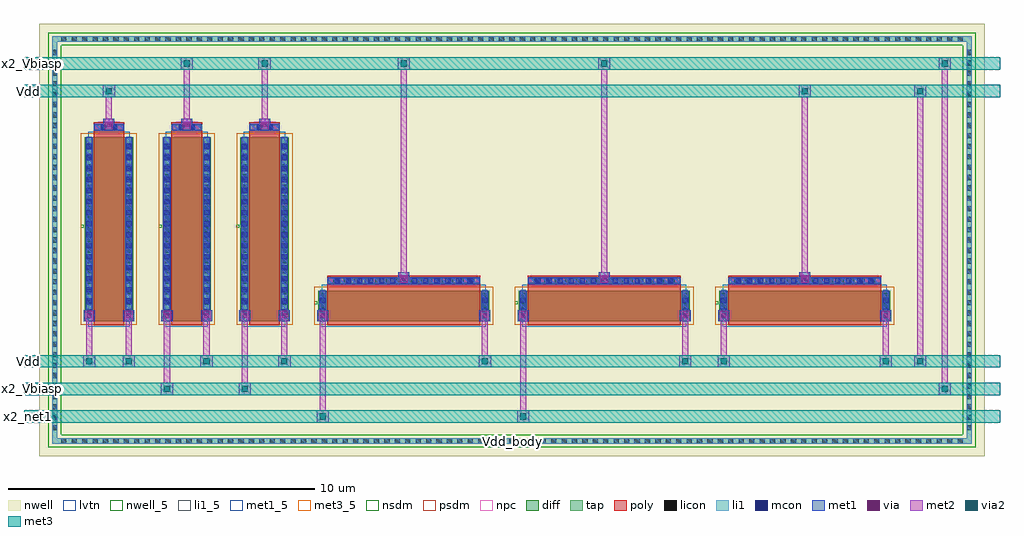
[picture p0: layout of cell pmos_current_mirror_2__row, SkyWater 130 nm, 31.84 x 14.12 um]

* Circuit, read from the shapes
.subckt pmos_current_mirror_2__row Vdd Vdd_body x2_Vbiasp x2_net1
XM1 Vdd Vdd Vdd Vdd_body sky130_fd_pr__pfet_01v8_lvt w=6 l=1
XM2 Vdd x2_Vbiasp x2_Vbiasp Vdd_body sky130_fd_pr__pfet_01v8_lvt w=6 l=1 m=2
XM3 Vdd x2_Vbiasp x2_net1 Vdd_body sky130_fd_pr__pfet_01v8_lvt w=1 l=5 m=2
XM4 Vdd Vdd Vdd Vdd_body sky130_fd_pr__pfet_01v8_lvt w=1 l=5
.ends

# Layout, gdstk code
import gdstk
lib = gdstk.Library(unit=1e-6, precision=1e-09)
def R(c, l, rs):  # rectangles x0, y0, x1, y1
    for r in rs: c.add(gdstk.rectangle(r[:2], r[2:], *l))
def A(c, l, x, y, w, h, nx, ny, dx, dy):  # array of equal rectangles
    R(c, l, [(x+i*dx, y+j*dy, x+i*dx+w, y+j*dy+h) for i in range(nx) for j in range(ny)])
nwell_5 = (64, 5)
nwell = (64, 20)
diff = (65, 20)
tap = (65, 44)
poly = (66, 20)
licon = (66, 44)
li1_5 = (67, 5)
li1 = (67, 20)
mcon = (67, 44)
met1_5 = (68, 5)
met1 = (68, 20)
via = (68, 44)
met2 = (69, 20)
via2 = (69, 44)
met3_5 = (70, 5)
met3 = (70, 20)
nsdm = (93, 44)
psdm = (94, 20)
npc = (95, 20)
lvtn = (125, 44)

sky130_fd_pr__pfet_01v8_ = lib.new_cell('sky130_fd_pr__pfet_01v8_lvt_G794LM')
R(sky130_fd_pr__pfet_01v8_, nwell, [(-2.97,-0.99,2.97,0.82)])
R(sky130_fd_pr__pfet_01v8_, diff, [(-2.79,-0.68,2.79,0.32)])
R(sky130_fd_pr__pfet_01v8_, poly, [(-2.5,-0.81,2.5,0.805)])
A(sky130_fd_pr__pfet_01v8_, licon, -2.73, -0.605, 0.17, 0.17, 1, 3, 0, 0.34)
A(sky130_fd_pr__pfet_01v8_, licon, 2.56, -0.605, 0.17, 0.17, 1, 3, 0, 0.34)
A(sky130_fd_pr__pfet_01v8_, licon, -2.295, 0.555, 0.17, 0.17, 14, 1, 0.34, 0)
R(sky130_fd_pr__pfet_01v8_, li1, [(-2.73,-0.7,-2.56,0.34), (2.56,-0.7,2.73,0.34), (-2.5,0.555,2.5,0.725)])
A(sky130_fd_pr__pfet_01v8_, mcon, -2.245, 0.555, 0.17, 0.17, 13, 1, 0.36, 0)
R(sky130_fd_pr__pfet_01v8_, mcon, [(-2.73,-0.445,-2.56,-0.275), (2.56,-0.445,2.73,-0.275), (-2.73,-0.085,-2.56,0.085), (2.56,-0.085,2.73,0.085)])
R(sky130_fd_pr__pfet_01v8_, met1, [(-2.76,-0.68,-2.53,0.32), (2.53,-0.68,2.76,0.32), (-2.48,0.525,2.48,0.755)])
R(sky130_fd_pr__pfet_01v8_, psdm, [(-2.915,-0.805,2.915,0.445)])
R(sky130_fd_pr__pfet_01v8_, npc, [(-2.395,0.455,2.395,0.825)])
R(sky130_fd_pr__pfet_01v8_, lvtn, [(-2.68,-0.86,2.68,0.5)])
sky130_fd_pr__pfet_01v8_.add(gdstk.Label('D', (-2.645,-0.18), layer=67, texttype=5))
sky130_fd_pr__pfet_01v8_.add(gdstk.Label('S', (2.645,-0.18), layer=67, texttype=5))
sky130_fd_pr__pfet_01v8_.add(gdstk.Label('G', (0,0.64), layer=67, texttype=5))

pfet_01v8_lvt_w1_l5_m2__ = lib.new_cell('pfet_01v8_lvt_W1_L5_m2__nf1_gtop_sdfull_ng')
R(pfet_01v8_lvt_w1_l5_m2__, nwell_5, [(0.05,0.855,0.15,0.955)])
R(pfet_01v8_lvt_w1_l5_m2__, nwell, [(0.05,0.855,0.15,0.955)])
R(pfet_01v8_lvt_w1_l5_m2__, met1_5, [(0.21,0.81,0.44,1.01), (5.5,0.81,5.73,1.01), (0.49,1.515,5.45,1.745)])
R(pfet_01v8_lvt_w1_l5_m2__, met1, [(0.21,0.81,0.44,1.01), (5.5,0.81,5.73,1.01), (0.49,1.515,5.45,1.745)])
pfet_01v8_lvt_w1_l5_m2__.add(gdstk.Reference(sky130_fd_pr__pfet_01v8_, (2.97,0.99)))
pfet_01v8_lvt_w1_l5_m2__.add(gdstk.Label('D', (0.325,0.91), layer=68, texttype=5))
pfet_01v8_lvt_w1_l5_m2__.add(gdstk.Label('S', (5.615,0.91), layer=68, texttype=5))
pfet_01v8_lvt_w1_l5_m2__.add(gdstk.Label('G', (2.97,1.63), layer=68, texttype=5))
pfet_01v8_lvt_w1_l5_m2__.add(gdstk.Label('B', (0.1,0.905), layer=64, texttype=5))

c_sky130_fd_pr__pfet_01v8_ = lib.new_cell('sky130_fd_pr__pfet_01v8_lvt_KRZAMB')
R(c_sky130_fd_pr__pfet_01v8_, nwell, [(-0.97,-3.49,0.97,3.32)])
R(c_sky130_fd_pr__pfet_01v8_, diff, [(-0.79,-3.18,0.79,2.82)])
R(c_sky130_fd_pr__pfet_01v8_, poly, [(-0.5,-3.31,0.5,3.305)])
A(c_sky130_fd_pr__pfet_01v8_, licon, -0.73, -2.985, 0.17, 0.17, 1, 17, 0, 0.34)
A(c_sky130_fd_pr__pfet_01v8_, licon, 0.56, -2.985, 0.17, 0.17, 1, 17, 0, 0.34)
R(c_sky130_fd_pr__pfet_01v8_, licon, [(-0.255,3.055,-0.085,3.225), (0.085,3.055,0.255,3.225)])
R(c_sky130_fd_pr__pfet_01v8_, li1, [(-0.73,-3.2,-0.56,2.84), (0.56,-3.2,0.73,2.84), (-0.5,3.055,0.5,3.225)])
A(c_sky130_fd_pr__pfet_01v8_, mcon, -0.73, -2.965, 0.17, 0.17, 1, 16, 0, 0.36)
A(c_sky130_fd_pr__pfet_01v8_, mcon, 0.56, -2.965, 0.17, 0.17, 1, 16, 0, 0.36)
R(c_sky130_fd_pr__pfet_01v8_, mcon, [(-0.265,3.055,-0.095,3.225), (0.095,3.055,0.265,3.225)])
R(c_sky130_fd_pr__pfet_01v8_, met1, [(-0.76,-3.18,-0.53,2.82), (0.53,-3.18,0.76,2.82), (-0.48,3.025,0.48,3.255)])
R(c_sky130_fd_pr__pfet_01v8_, psdm, [(-0.915,-3.305,0.915,2.945)])
R(c_sky130_fd_pr__pfet_01v8_, npc, [(-0.355,2.955,0.355,3.325)])
R(c_sky130_fd_pr__pfet_01v8_, lvtn, [(-0.68,-3.36,0.68,3)])
c_sky130_fd_pr__pfet_01v8_.add(gdstk.Label('D', (-0.645,-0.18), layer=67, texttype=5))
c_sky130_fd_pr__pfet_01v8_.add(gdstk.Label('S', (0.645,-0.18), layer=67, texttype=5))
c_sky130_fd_pr__pfet_01v8_.add(gdstk.Label('G', (0,3.14), layer=67, texttype=5))

pfet_01v8_lvt_w6_l1_m2__ = lib.new_cell('pfet_01v8_lvt_W6_L1_m2__nf1_gtop_sdfull_ng')
R(pfet_01v8_lvt_w6_l1_m2__, nwell_5, [(0.05,3.355,0.15,3.455)])
R(pfet_01v8_lvt_w6_l1_m2__, nwell, [(0.05,3.355,0.15,3.455)])
R(pfet_01v8_lvt_w6_l1_m2__, met1_5, [(0.21,3.31,0.44,3.51), (1.5,3.31,1.73,3.51), (0.49,6.515,1.45,6.745)])
R(pfet_01v8_lvt_w6_l1_m2__, met1, [(0.21,3.31,0.44,3.51), (1.5,3.31,1.73,3.51), (0.49,6.515,1.45,6.745)])
pfet_01v8_lvt_w6_l1_m2__.add(gdstk.Reference(c_sky130_fd_pr__pfet_01v8_, (0.97,3.49)))
pfet_01v8_lvt_w6_l1_m2__.add(gdstk.Label('D', (0.325,3.41), layer=68, texttype=5))
pfet_01v8_lvt_w6_l1_m2__.add(gdstk.Label('S', (1.615,3.41), layer=68, texttype=5))
pfet_01v8_lvt_w6_l1_m2__.add(gdstk.Label('G', (0.97,6.63), layer=68, texttype=5))
pfet_01v8_lvt_w6_l1_m2__.add(gdstk.Label('B', (0.1,3.405), layer=64, texttype=5))

pmos_current_mirror_2__r = lib.new_cell('pmos_current_mirror_2__row')
R(pmos_current_mirror_2__r, nwell, [(-1.3,-4.1,29.54,10.015)])
R(pmos_current_mirror_2__r, tap, [(-0.885,-3.685,29.125,-3.515), (-0.885,-3.515,-0.715,9.43), (28.955,-3.515,29.125,9.43), (-0.885,9.43,29.125,9.6)])
A(pmos_current_mirror_2__r, licon, -0.585, -3.685, 0.17, 0.17, 87, 2, 0.34, 13.115)
A(pmos_current_mirror_2__r, licon, -0.885, -3.25, 0.17, 0.17, 1, 37, 0, 0.34)
A(pmos_current_mirror_2__r, licon, 28.955, -3.25, 0.17, 0.17, 1, 37, 0, 0.34)
R(pmos_current_mirror_2__r, li1_5, [(14.07,-3.65,14.17,-3.55)])
R(pmos_current_mirror_2__r, li1, [(-0.885,-3.685,29.125,-3.515), (-0.885,-3.515,-0.715,9.43), (28.955,-3.515,29.125,9.43), (-0.885,9.43,29.125,9.6)])
A(pmos_current_mirror_2__r, met1, 10.41, 1.545, 0.36, 0.36, 3, 1, 6.54, 0)
A(pmos_current_mirror_2__r, met1, 0.79, 6.545, 0.36, 0.36, 3, 1, 2.54, 0)
R(pmos_current_mirror_2__r, met1, [(0.145,0.31,0.505,0.67), (1.435,0.31,1.795,0.67), (2.685,0.31,3.045,0.67), (3.975,0.31,4.335,0.67), (5.225,0.31,5.585,0.67), (6.515,0.31,6.875,0.67), (7.765,0.31,8.125,0.67), (13.055,0.31,13.415,0.67), (14.305,0.31,14.665,0.67), (19.595,0.31,19.955,0.67), (20.845,0.31,21.205,0.67), (26.135,0.31,26.495,0.67)])
A(pmos_current_mirror_2__r, via, 10.515, 1.65, 0.15, 0.15, 3, 1, 6.54, 0)
A(pmos_current_mirror_2__r, via, 0.895, 6.65, 0.15, 0.15, 3, 1, 2.54, 0)
R(pmos_current_mirror_2__r, via, [(0.25,0.415,0.4,0.565), (1.54,0.415,1.69,0.565), (2.79,0.415,2.94,0.565), (4.08,0.415,4.23,0.565), (5.33,0.415,5.48,0.565), (6.62,0.415,6.77,0.565), (7.87,0.415,8.02,0.565), (13.16,0.415,13.31,0.565), (14.41,0.415,14.56,0.565), (19.7,0.415,19.85,0.565), (20.95,0.415,21.1,0.565), (26.24,0.415,26.39,0.565)])
A(pmos_current_mirror_2__r, met2, 1.415, -1.2, 0.4, 0.4, 3, 1, 2.54, 0)
A(pmos_current_mirror_2__r, met2, 1.515, -0.8, 0.2, 1.13, 3, 1, 2.54, 0)
A(pmos_current_mirror_2__r, met2, 10.46, 1.565, 0.26, 0.32, 3, 1, 6.54, 0)
A(pmos_current_mirror_2__r, met2, 0.84, 6.565, 0.26, 0.32, 3, 1, 2.54, 0)
R(pmos_current_mirror_2__r, met2, [(7.745,-3,8.145,-2.6), (14.285,-3,14.685,-2.6), (7.845,-2.6,8.045,0.33), (14.385,-2.6,14.585,0.33), (2.665,-2.1,3.065,-1.7), (5.205,-2.1,5.605,-1.7), (28.04,-2.1,28.44,-1.7), (2.765,-1.7,2.965,0.33), (5.305,-1.7,5.505,0.33), (28.14,-1.7,28.34,8.515), (0.125,-1.2,0.525,-0.8), (13.035,-1.2,13.435,-0.8), (19.575,-1.2,19.975,-0.8), (20.825,-1.2,21.225,-0.8), (26.115,-1.2,26.515,-0.8), (27.24,-1.2,27.64,-0.8), (0.225,-0.8,0.425,0.33), (13.135,-0.8,13.335,0.33), (19.675,-0.8,19.875,0.33), (20.925,-0.8,21.125,0.33), (26.215,-0.8,26.415,0.33), (27.34,-0.8,27.54,7.615), (0.195,0.33,0.455,0.65), (1.485,0.33,1.745,0.65), (2.735,0.33,2.995,0.65), (4.025,0.33,4.285,0.65), (5.275,0.33,5.535,0.65), (6.565,0.33,6.825,0.65), (7.815,0.33,8.075,0.65), (13.105,0.33,13.365,0.65), (14.355,0.33,14.615,0.65), (19.645,0.33,19.905,0.65), (20.895,0.33,21.155,0.65), (26.185,0.33,26.445,0.65), (10.49,1.885,10.69,8.515), (17.03,1.885,17.23,8.515), (23.57,1.885,23.77,7.615), (0.87,6.885,1.07,7.615), (3.41,6.885,3.61,8.515), (5.95,6.885,6.15,8.515), (0.77,7.615,1.17,8.015), (23.47,7.615,23.87,8.015), (27.24,7.615,27.64,8.015), (3.31,8.515,3.71,8.915), (5.85,8.515,6.25,8.915), (10.39,8.515,10.79,8.915), (16.93,8.515,17.33,8.915), (28.04,8.515,28.44,8.915)])
A(pmos_current_mirror_2__r, via2, 1.515, -1.1, 0.2, 0.2, 3, 1, 2.54, 0)
R(pmos_current_mirror_2__r, via2, [(7.845,-2.9,8.045,-2.7), (14.385,-2.9,14.585,-2.7), (2.765,-2,2.965,-1.8), (5.305,-2,5.505,-1.8), (28.14,-2,28.34,-1.8), (0.225,-1.1,0.425,-0.9), (13.135,-1.1,13.335,-0.9), (19.675,-1.1,19.875,-0.9), (20.925,-1.1,21.125,-0.9), (26.215,-1.1,26.415,-0.9), (27.34,-1.1,27.54,-0.9), (0.87,7.715,1.07,7.915), (23.57,7.715,23.77,7.915), (27.34,7.715,27.54,7.915), (3.41,8.615,3.61,8.815), (5.95,8.615,6.15,8.815), (10.49,8.615,10.69,8.815), (17.03,8.615,17.23,8.815), (28.14,8.615,28.34,8.815)])
A(pmos_current_mirror_2__r, met3_5, -1.7, -2.85, 0.1, 0.1, 1, 3, 0, 0.9)
R(pmos_current_mirror_2__r, met3_5, [(-1.7,7.765,-1.6,7.865), (-1.7,8.665,-1.6,8.765)])
A(pmos_current_mirror_2__r, met3, -1.8, -3, 31.84, 0.4, 1, 3, 0, 0.9)
R(pmos_current_mirror_2__r, met3, [(-1.8,7.615,30.04,8.015), (-1.8,8.515,30.04,8.915)])
R(pmos_current_mirror_2__r, nsdm, [(-1.01,-3.81,29.25,-3.39), (-1.01,-3.39,-0.59,9.305), (28.83,-3.39,29.25,9.305), (-1.01,9.305,29.25,9.725)])
pmos_current_mirror_2__r.add(gdstk.Reference(pfet_01v8_lvt_w1_l5_m2__, (20.7,0)))
pmos_current_mirror_2__r.add(gdstk.Reference(pfet_01v8_lvt_w1_l5_m2__, (14.16,0)))
pmos_current_mirror_2__r.add(gdstk.Reference(pfet_01v8_lvt_w1_l5_m2__, (7.62,0)))
pmos_current_mirror_2__r.add(gdstk.Reference(pfet_01v8_lvt_w6_l1_m2__, (5.08,0)))
pmos_current_mirror_2__r.add(gdstk.Reference(pfet_01v8_lvt_w6_l1_m2__, (2.54,0)))
pmos_current_mirror_2__r.add(gdstk.Reference(pfet_01v8_lvt_w6_l1_m2__, (0,0)))
pmos_current_mirror_2__r.add(gdstk.Label('Vdd', (-1.65,7.815), layer=70, texttype=5))
pmos_current_mirror_2__r.add(gdstk.Label('x2_Vbiasp', (-1.65,8.715), layer=70, texttype=5))
pmos_current_mirror_2__r.add(gdstk.Label('Vdd', (-1.65,-1), layer=70, texttype=5))
pmos_current_mirror_2__r.add(gdstk.Label('x2_Vbiasp', (-1.65,-1.9), layer=70, texttype=5))
pmos_current_mirror_2__r.add(gdstk.Label('x2_net1', (-1.65,-2.8), layer=70, texttype=5))
pmos_current_mirror_2__r.add(gdstk.Label('Vdd_body', (14.12,-3.6), layer=67, texttype=5))

lib.write_gds('pmos_current_mirror_2__row.gds')
